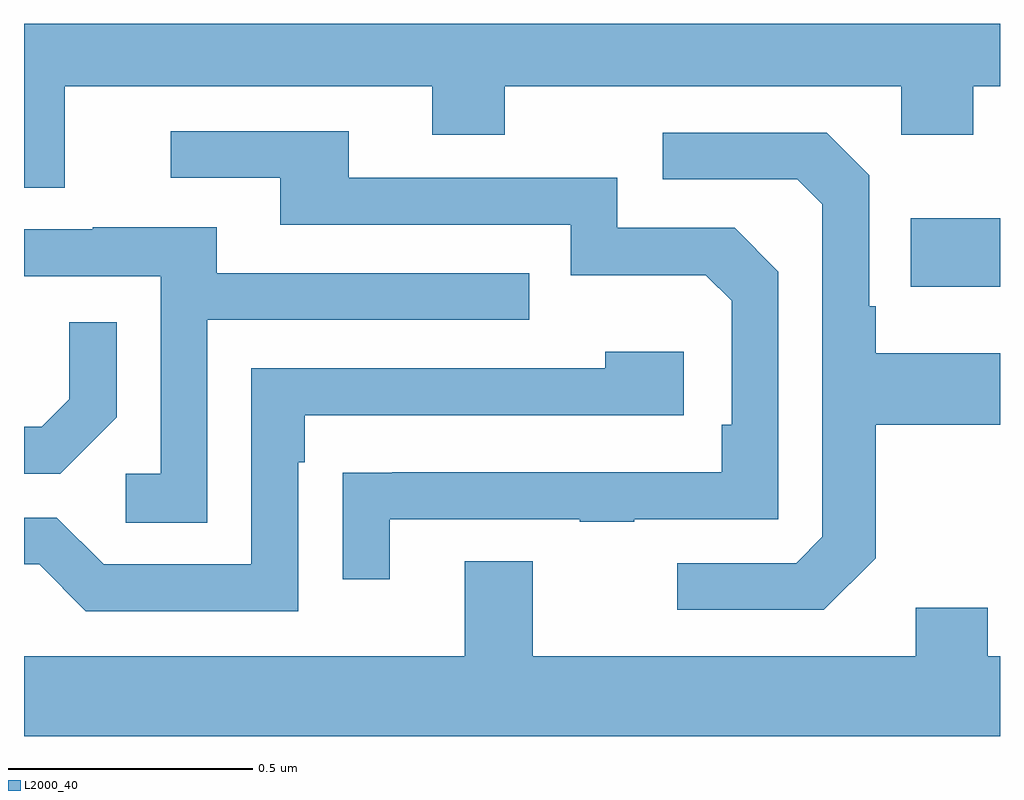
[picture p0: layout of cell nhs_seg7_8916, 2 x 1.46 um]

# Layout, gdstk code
import gdstk
lib = gdstk.Library(unit=1e-6, precision=1e-09)
def R(c, l, rs):  # rectangles x0, y0, x1, y1
    for r in rs: c.add(gdstk.rectangle(r[:2], r[2:], *l))
def P(c, l, *ps):  # polygons
    for p in ps: c.add(gdstk.Polygon(p, *l))
L2000_40 = (2000, 40)

nhs_seg7_8916 = lib.new_cell('nhs_seg7_8916')
R(nhs_seg7_8916, L2000_40, [(231.817,1077.461,232,1077.601)])
P(nhs_seg7_8916, L2000_40, [(230.083,1077.872),(230.837,1077.872),(230.837,1077.773),(230.985,1077.773),(230.985,1077.872),(231.798,1077.872),(231.798,1077.773),(231.945,1077.773),(231.945,1077.872),(232,1077.872),(232,1078),(230,1078),(230,1077.664),(230.083,1077.664)],
  [(230.749,1076.985),(231.139,1076.985),(231.139,1076.98),(231.251,1076.98),(231.251,1076.985),(231.546,1076.985),(231.546,1077.492),(231.456,1077.582),(231.216,1077.582),(231.216,1077.684),(230.665,1077.684),(230.665,1077.78),(230.301,1077.78),(230.301,1077.684),(230.525,1077.684),(230.525,1077.588),(231.12,1077.588),(231.12,1077.485),(231.397,1077.485),(231.45,1077.432),(231.45,1077.178),(231.43,1077.178),(231.43,1077.081),(230.755,1077.081),(230.755,1077.08),(230.653,1077.08),(230.653,1076.862),(230.749,1076.862)],
  [(231.745,1076.905),(231.745,1077.178),(232,1077.178),(232,1077.325),(231.745,1077.325),(231.745,1077.421),(231.732,1077.421),(231.732,1077.69),(231.645,1077.777),(231.309,1077.777),(231.309,1077.681),(231.585,1077.681),(231.636,1077.63),(231.636,1076.949),(231.582,1076.895),(231.339,1076.895),(231.339,1076.799),(231.639,1076.799)],
  [(230.376,1077.393),(231.035,1077.393),(231.035,1077.489),(230.395,1077.489),(230.395,1077.583),(230.141,1077.583),(230.141,1077.579),(230,1077.579),(230,1077.483),(230.28,1077.483),(230.28,1077.078),(230.208,1077.078),(230.208,1076.977),(230.376,1076.977)],
  [(230.19,1077.194),(230.19,1077.388),(230.093,1077.388),(230.093,1077.231),(230.036,1077.174),(230,1077.174),(230,1077.078),(230.074,1077.078)],
  [(230.562,1077.101),(230.575,1077.101),(230.575,1077.198),(231.352,1077.198),(231.352,1077.328),(231.191,1077.328),(231.191,1077.294),(230.466,1077.294),(230.466,1076.892),(230.163,1076.892),(230.067,1076.988),(230,1076.988),(230,1076.892),(230.031,1076.892),(230.127,1076.796),(230.562,1076.796)],
  [(232,1076.704),(231.975,1076.704),(231.975,1076.803),(231.827,1076.803),(231.827,1076.704),(231.043,1076.704),(231.043,1076.899),(230.903,1076.899),(230.903,1076.704),(230,1076.704),(230,1076.54),(232,1076.54)])

lib.write_gds('nhs_seg7_8916.gds')
